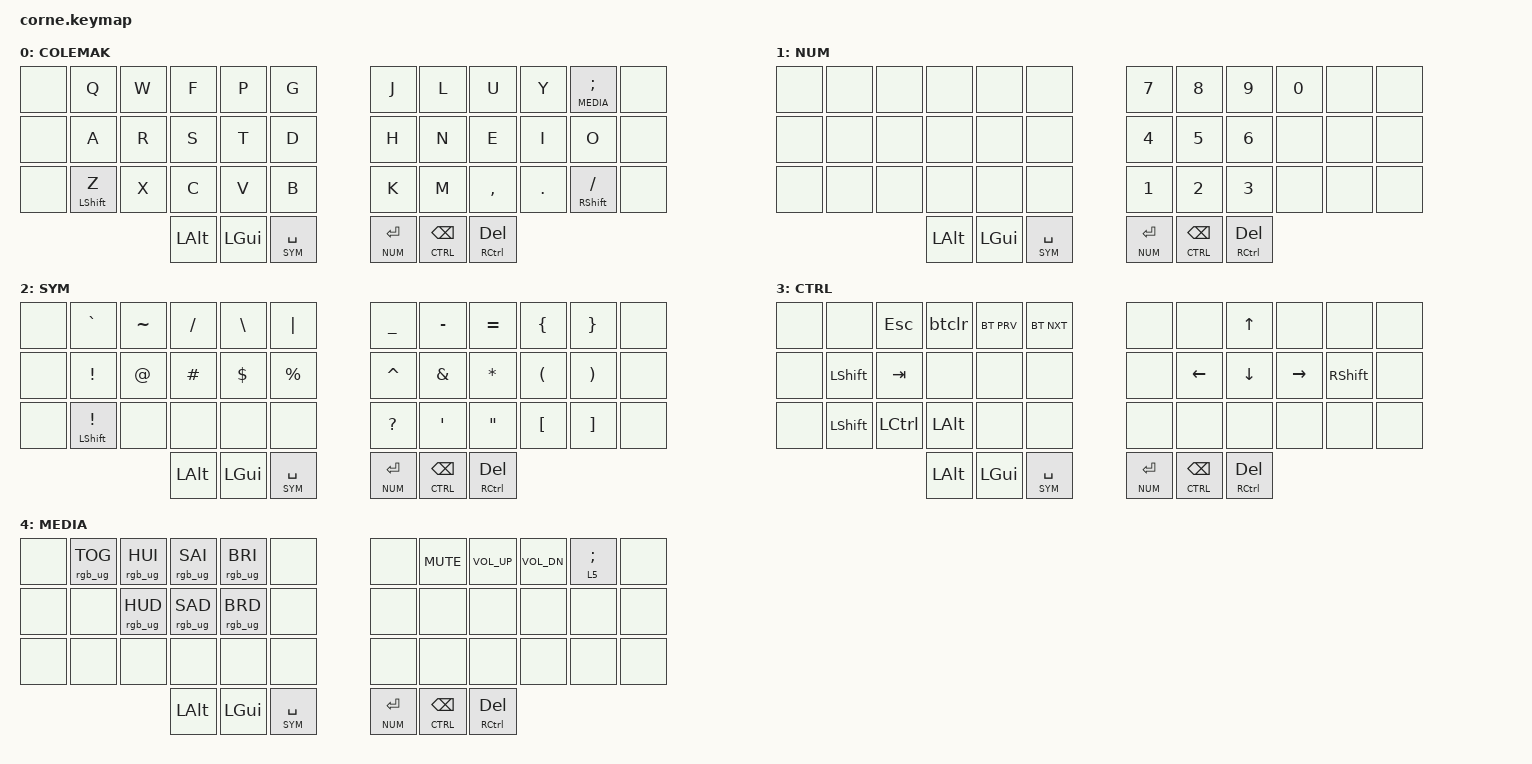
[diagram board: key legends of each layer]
#include <behaviors.dtsi>
#include <dt-bindings/zmk/keys.h>
#include <dt-bindings/zmk/bt.h>
#include <dt-bindings/zmk/rgb.h>
#include <dt-bindings/zmk/backlight.h>

#define COLEMAK 0
#define NUM 1
#define SYM 2
#define CTRL 3
#define MEDIA 4


/ {
        behaviors {
                cht: custom_hold_tap {
                        compatible = "zmk,behavior-hold-tap";
                        #binding-cells = <2>;
                        flavor = "tap-preferred";
                        tapping-term-ms = <200>;
                        quick-tap-ms = <200>;
                        bindings = <&kp>, <&kp>;
                };
                // Thumb modifier: hold-preferred so a chord resolves as the
                // modifier the instant another key is pressed. Tapped alone
                // it is DEL. (tap-preferred here made Ctrl chords need a
                // 200ms pause before the second key.)
                hpt: hold_preferred_tap {
                        compatible = "zmk,behavior-hold-tap";
                        #binding-cells = <2>;
                        flavor = "hold-preferred";
                        tapping-term-ms = <200>;
                        quick-tap-ms = <200>;
                        bindings = <&kp>, <&kp>;
                };
                // Layer-tap with quick-tap: tap the key, then press it again
                // within quick-tap-ms and hold, and the second press is forced
                // to the tap key and held, so the OS auto-repeats it. Backspace
                // ONLY: on Space it breaks "tap Space, hold Space for SYM",
                // which types two spaces and the base-layer key. The built-in
                // &lt has no quick-tap, so a second hold only enters the layer.
                qlt: quick_tap_layer_tap {
                        compatible = "zmk,behavior-hold-tap";
                        #binding-cells = <2>;
                        flavor = "tap-preferred";
                        tapping-term-ms = <200>;
                        quick-tap-ms = <250>;
                        bindings = <&mo>, <&kp>;
                };
                // Shift+F on the CTRL layer clears Bluetooth; F alone does nothing.
                btclr: bt_clear_shifted {
                        compatible = "zmk,behavior-mod-morph";
                        #binding-cells = <0>;
                        bindings = <&none>, <&bt BT_CLR>;
                        mods = <(MOD_LSFT|MOD_RSFT)>;
                };
        };
        keymap {
                compatible = "zmk,keymap";

                colemak_layer {
                        display-name = "COLEMAK";
                        bindings = <
   &none           &kp Q           &kp W           &kp F           &kp P           &kp G           &kp J           &kp L           &kp U           &kp Y           &lt MEDIA SEMI   &none 
   &none           &kp A           &kp R           &kp S           &kp T           &kp D           &kp H           &kp N           &kp E           &kp I           &kp O            &none 
   &none           &cht LSHIFT Z   &kp X           &kp C           &kp V           &kp B           &kp K           &kp M           &kp COMMA       &kp DOT         &cht RSHIFT FSLH &none 
                                                   &kp LALT        &kp LGUI        &lt SYM SPACE   &lt NUM RET     &qlt CTRL BSPC   &hpt RCTRL DEL
                        >;
                };

                number_layer {
                        display-name = "NUM";
                        bindings = <
   &none           &none           &none           &none           &none           &none           &kp N7          &kp N8          &kp N9          &kp N0          &none           &none 
   &none           &none           &none           &none           &none           &none           &kp N4          &kp N5          &kp N6          &none           &none           &none 
   &none           &none           &none           &none           &none           &none           &kp N1          &kp N2          &kp N3          &none           &none           &none 
                                                   &kp LALT        &kp LGUI        &lt SYM SPACE   &lt NUM RET     &qlt CTRL BSPC   &hpt RCTRL DEL
                        >;
                };

                symbol_layer {
                        display-name = "SYM";
                        bindings = <
   &none           &kp GRAVE       &kp TILDE       &kp FSLH        &kp BSLH        &kp PIPE        &kp UNDER       &kp MINUS       &kp EQUAL       &kp LBRC        &kp RBRC        &none 
   &none           &kp EXCL        &kp AT          &kp POUND       &kp DLLR        &kp PRCNT       &kp CARET       &kp AMPS        &kp ASTRK       &kp LPAR        &kp RPAR        &none 
   &none           &cht LSHIFT EXCL &none          &none           &none           &none           &kp QMARK       &kp APOS        &kp DQT         &kp LBKT        &kp RBKT        &none 
                                                   &kp LALT        &kp LGUI        &lt SYM SPACE   &lt NUM RET     &qlt CTRL BSPC   &hpt RCTRL DEL
                        >;
                };

                control_layer {
                        display-name = "CTRL";
                        bindings = <
   &none           &none           &kp ESC         &btclr          &bt BT_PRV      &bt BT_NXT      &none           &none           &kp UP          &none           &none           &none 
   &none           &kp LSHFT       &kp TAB         &none           &none           &none           &none           &kp LEFT        &kp DOWN        &kp RIGHT       &kp RSHFT       &none 
   &none           &kp LSHFT       &kp LCTRL       &kp LALT        &none           &none           &none           &none           &none           &none           &none           &none 
                                                   &kp LALT        &kp LGUI        &lt SYM SPACE   &lt NUM RET     &qlt CTRL BSPC   &hpt RCTRL DEL
                        >;
                };

                media_layer {
                        display-name = "MEDIA";
                        bindings = <
   &none           &rgb_ug RGB_TOG &rgb_ug RGB_HUI &rgb_ug RGB_SAI &rgb_ug RGB_BRI &none           &none           &kp C_MUTE      &kp C_VOL_UP    &kp C_VOL_DN    &lt 5 SEMI      &none 
   &none           &none           &rgb_ug RGB_HUD &rgb_ug RGB_SAD &rgb_ug RGB_BRD &none           &none           &none           &none           &none           &none           &none 
   &none           &none           &none           &none           &none           &none           &none           &none           &none           &none           &none           &none 
                                                   &kp LALT        &kp LGUI        &lt SYM SPACE   &lt NUM RET     &qlt CTRL BSPC   &hpt RCTRL DEL
                        >;
                };
        };
};
